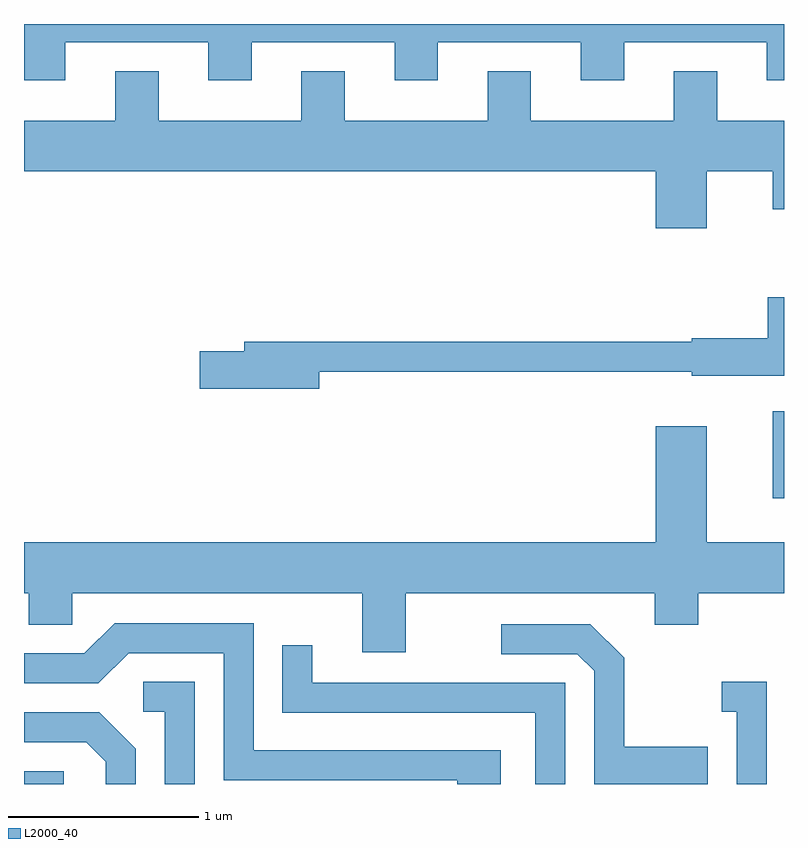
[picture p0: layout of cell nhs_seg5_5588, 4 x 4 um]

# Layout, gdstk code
import gdstk
lib = gdstk.Library(unit=1e-6, precision=1e-09)
def R(c, l, rs):  # rectangles x0, y0, x1, y1
    for r in rs: c.add(gdstk.rectangle(r[:2], r[2:], *l))
def P(c, l, *ps):  # polygons
    for p in ps: c.add(gdstk.Polygon(p, *l))
L2000_40 = (2000, 40)

nhs_seg5_5588 = lib.new_cell('nhs_seg5_5588')
R(nhs_seg5_5588, L2000_40, [(351.611,1398.072,351.819,1398.139), (355.551,1399.576,355.611,1400.034)])
P(nhs_seg5_5588, L2000_40, [(351.829,1401.976),(352.581,1401.976),(352.581,1401.776),(352.809,1401.776),(352.809,1401.976),(353.561,1401.976),(353.561,1401.776),(353.789,1401.776),(353.789,1401.976),(354.541,1401.976),(354.541,1401.776),(354.769,1401.776),(354.769,1401.976),(355.521,1401.976),(355.521,1401.776),(355.611,1401.776),(355.611,1402.072),(351.611,1402.072),(351.611,1401.776),(351.829,1401.776)],
  [(355.204,1401.296),(355.551,1401.296),(355.551,1401.096),(355.611,1401.096),(355.611,1401.564),(355.259,1401.564),(355.259,1401.824),(355.031,1401.824),(355.031,1401.564),(354.279,1401.564),(354.279,1401.824),(354.051,1401.824),(354.051,1401.564),(353.299,1401.564),(353.299,1401.824),(353.071,1401.824),(353.071,1401.564),(352.319,1401.564),(352.319,1401.824),(352.091,1401.824),(352.091,1401.564),(351.611,1401.564),(351.611,1401.296),(354.936,1401.296),(354.936,1400.996),(355.204,1400.996)],
  [(353.164,1400.241),(355.126,1400.241),(355.126,1400.221),(355.611,1400.221),(355.611,1400.634),(355.526,1400.634),(355.526,1400.419),(355.126,1400.419),(355.126,1400.399),(352.771,1400.399),(352.771,1400.349),(352.536,1400.349),(352.536,1400.151),(353.164,1400.151)],
  [(353.619,1399.076),(354.931,1399.076),(354.931,1398.911),(355.159,1398.911),(355.159,1399.076),(355.611,1399.076),(355.611,1399.344),(355.204,1399.344),(355.204,1399.954),(354.936,1399.954),(354.936,1399.344),(351.611,1399.344),(351.611,1399.076),(351.636,1399.076),(351.636,1398.911),(351.864,1398.911),(351.864,1399.076),(353.391,1399.076),(353.391,1398.766),(353.619,1398.766)],
  [(354.119,1398.249),(352.819,1398.249),(352.819,1398.919),(352.089,1398.919),(351.929,1398.759),(351.611,1398.759),(351.611,1398.601),(352.002,1398.601),(352.162,1398.761),(352.661,1398.761),(352.661,1398.091),(353.891,1398.091),(353.891,1398.072),(354.119,1398.072)],
  [(355.209,1398.269),(354.769,1398.269),(354.769,1398.737),(354.592,1398.914),(354.123,1398.914),(354.123,1398.756),(354.524,1398.756),(354.611,1398.669),(354.611,1398.072),(355.209,1398.072)],
  [(354.459,1398.604),(353.129,1398.604),(353.129,1398.803),(352.971,1398.803),(352.971,1398.446),(354.301,1398.446),(354.301,1398.072),(354.459,1398.072)],
  [(355.519,1398.609),(355.283,1398.609),(355.283,1398.451),(355.361,1398.451),(355.361,1398.072),(355.519,1398.072)],
  [(352.509,1398.609),(352.238,1398.609),(352.238,1398.451),(352.351,1398.451),(352.351,1398.072),(352.509,1398.072)],
  [(352.199,1398.257),(352.007,1398.449),(351.611,1398.449),(351.611,1398.291),(351.939,1398.291),(352.041,1398.189),(352.041,1398.072),(352.199,1398.072)])

lib.write_gds('nhs_seg5_5588.gds')
